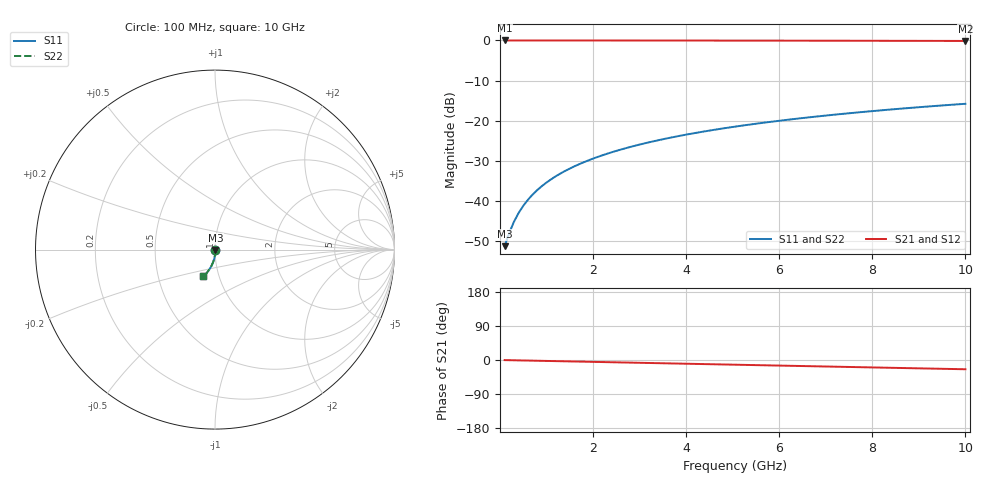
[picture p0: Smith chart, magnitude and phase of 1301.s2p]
# Hz S RI R 50.00
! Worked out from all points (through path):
!   100 points, 100 MHz to 10 GHz, reference 50 ohm
!   highest |S21| = -0.02 dB at 100 MHz (marker M1); lowest = -0.1 dB at 10 GHz (marker M2)
!   group delay of S21, straight-line fit = 6.79 ps
!   lowest |S11| = -51.2 dB at 100 MHz (marker M3), VSWR 1.01, Z = 50.2 - j0.17 ohm
!   |S11| at or under -10 dB: start of sweep to end of sweep
!   |S22| runs from -51.2 to -15.8 dB; largest |S21 - S12| = 0
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1e8  0.00215 -0.00169  0.9978 -0.00429  0.9978 -0.00429  0.00215 -0.00169
2e8  0.00214 -0.00339  0.9978 -0.00857  0.9978 -0.00857  0.00214 -0.00339
3e8  0.00211 -0.00508  0.9977 -0.0129  0.9977 -0.0129  0.00211 -0.00508
4e8  0.00207 -0.00678  0.9976 -0.0171  0.9976 -0.0171  0.00207 -0.00678
5e8  0.00201 -0.00847  0.9975 -0.0214  0.9975 -0.0214  0.00201 -0.00847
6e8  0.00193 -0.0102  0.9974 -0.0257  0.9974 -0.0257  0.00193 -0.0102
7e8  0.00184 -0.0119  0.9972 -0.03  0.9972 -0.03  0.00184 -0.0119
9e8  0.00162 -0.0152  0.9969 -0.0385  0.9969 -0.0385  0.00162 -0.0152
1e9  0.00148 -0.0169  0.9967 -0.0428  0.9967 -0.0428  0.00148 -0.0169
1.2e9  0.00116 -0.0203  0.9962 -0.0514  0.9962 -0.0514  0.00116 -0.0203
1.5e9  0.000581 -0.0253  0.9953 -0.0642  0.9953 -0.0642  0.000581 -0.0253
1.8e9  -0.000132 -0.0304  0.9942 -0.077  0.9942 -0.077  -0.000132 -0.0304
2.1e9  -0.000975 -0.0354  0.993 -0.0898  0.993 -0.0898  -0.000975 -0.0354
2.5e9  -0.0023 -0.042  0.991 -0.1068  0.991 -0.1068  -0.0023 -0.042
2.9e9  -0.00385 -0.0486  0.9887 -0.1237  0.9887 -0.1237  -0.00385 -0.0486
3.4e9  -0.0061 -0.0568  0.9854 -0.1448  0.9854 -0.1448  -0.0061 -0.0568
4.2e9  -0.0104 -0.0696  0.9789 -0.1783  0.9789 -0.1783  -0.0104 -0.0696
5.1e9  -0.0163 -0.0836  0.9702 -0.2156  0.9702 -0.2156  -0.0163 -0.0836
5.9e9  -0.0224 -0.0956  0.961 -0.2482  0.961 -0.2482  -0.0224 -0.0956
6.7e9  -0.0293 -0.1071  0.9507 -0.2804  0.9507 -0.2804  -0.0293 -0.1071
8.4e9  -0.0464 -0.1299  0.9247 -0.3469  0.9247 -0.3469  -0.0464 -0.1299
1e10  -0.0651 -0.1487  0.8958 -0.4069  0.8958 -0.4069  -0.0651 -0.1487
